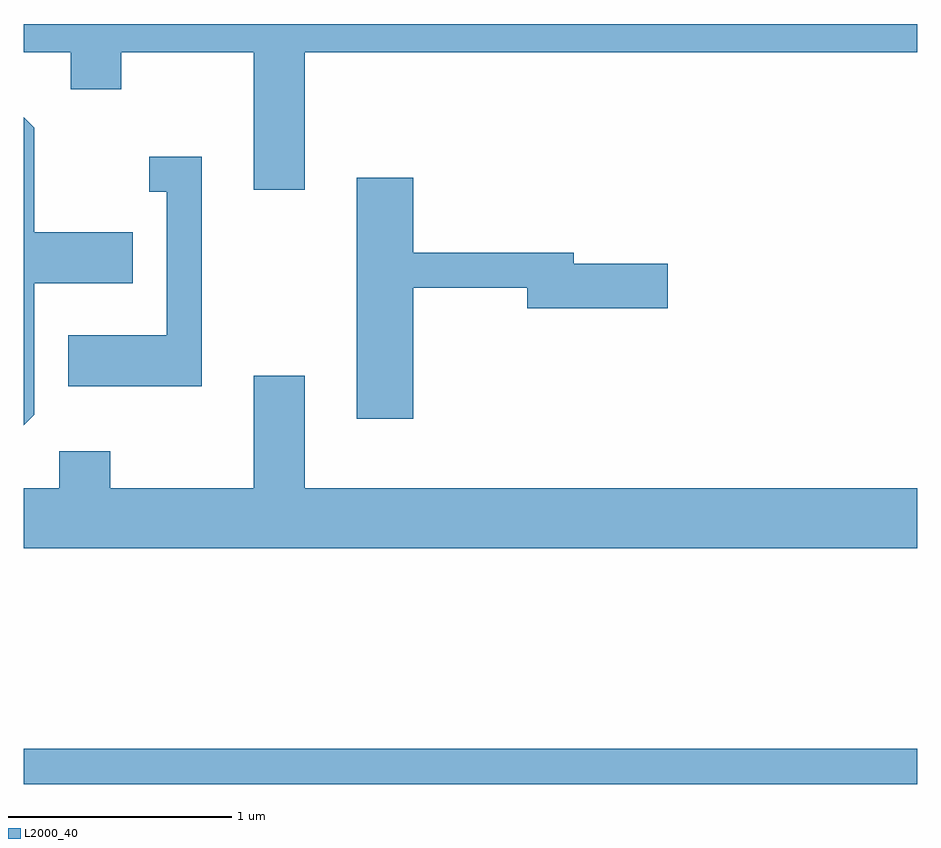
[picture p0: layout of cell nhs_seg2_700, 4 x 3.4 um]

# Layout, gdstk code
import gdstk
lib = gdstk.Library(unit=1e-6, precision=1e-09)
def R(c, l, rs):  # rectangles x0, y0, x1, y1
    for r in rs: c.add(gdstk.rectangle(r[:2], r[2:], *l))
def P(c, l, *ps):  # polygons
    for p in ps: c.add(gdstk.Polygon(p, *l))
L2000_40 = (2000, 40)

nhs_seg2_700 = lib.new_cell('nhs_seg2_700')
R(nhs_seg2_700, L2000_40, [(205.611,1018.401,209.611,1018.559)])
P(nhs_seg2_700, L2000_40, [(206.869,1021.676),(209.611,1021.676),(209.611,1021.802),(205.611,1021.802),(205.611,1021.676),(205.821,1021.676),(205.821,1021.511),(206.049,1021.511),(206.049,1021.676),(206.641,1021.676),(206.641,1021.061),(206.869,1021.061)],
  [(205.659,1020.054),(205.659,1020.641),(206.099,1020.641),(206.099,1020.869),(205.659,1020.869),(205.659,1021.337),(205.611,1021.385),(205.611,1020.006)],
  [(206.409,1021.209),(206.173,1021.209),(206.173,1021.051),(206.251,1021.051),(206.251,1020.409),(205.811,1020.409),(205.811,1020.181),(206.409,1020.181)],
  [(207.354,1020.621),(207.866,1020.621),(207.866,1020.531),(208.494,1020.531),(208.494,1020.729),(208.074,1020.729),(208.074,1020.779),(207.354,1020.779),(207.354,1021.114),(207.101,1021.114),(207.101,1020.036),(207.354,1020.036)],
  [(209.611,1019.724),(206.869,1019.724),(206.869,1020.229),(206.641,1020.229),(206.641,1019.724),(205.999,1019.724),(205.999,1019.889),(205.771,1019.889),(205.771,1019.724),(205.611,1019.724),(205.611,1019.456),(209.611,1019.456)])

lib.write_gds('nhs_seg2_700.gds')
